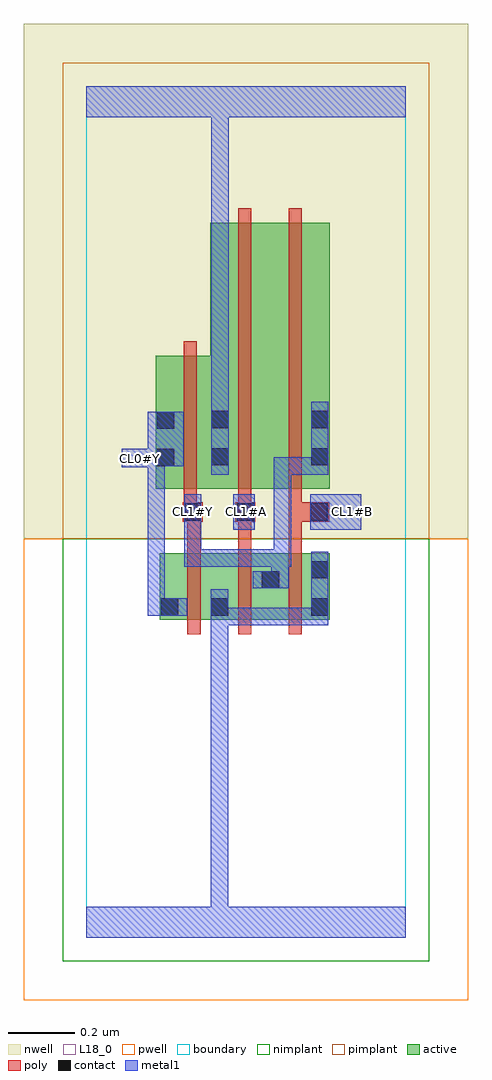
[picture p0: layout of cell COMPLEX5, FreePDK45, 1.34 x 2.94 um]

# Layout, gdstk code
import gdstk
lib = gdstk.Library(unit=1e-6, precision=1e-09)
def R(c, l, rs):  # rectangles x0, y0, x1, y1
    for r in rs: c.add(gdstk.rectangle(r[:2], r[2:], *l))
def A(c, l, x, y, w, h, nx, ny, dx, dy):  # array of equal rectangles
    R(c, l, [(x+i*dx, y+j*dy, x+i*dx+w, y+j*dy+h) for i in range(nx) for j in range(ny)])
active = (1, 0)
pwell = (2, 0)
nwell = (3, 0)
nimplant = (4, 0)
pimplant = (5, 0)
poly = (9, 0)
contact = (10, 0)
metal1 = (11, 0)
L18_0 = (18, 0)
boundary = (235, 0)

complex5 = lib.new_cell('COMPLEX5')
R(complex5, active, [(0.22,0.956,0.28,1.156), (0.22,0.956,0.43,1.156), (0.37,0.956,0.43,1.156), (0.37,0.956,0.584,1.156), (0.524,0.956,0.584,1.156), (0.524,0.956,0.732,1.156), (0.672,0.956,0.732,1.156), (0.208,1.35,0.432,1.75), (0.208,1.35,0.268,1.75), (0.372,1.35,0.552,2.15), (0.372,1.35,0.432,1.644), (0.552,1.35,0.732,2.15), (0.672,1.35,0.732,2.044)])
R(complex5, pwell, [(-0.188,-0.188,1.148,1.2)])
R(complex5, nwell, [(-0.188,1.2,1.148,2.748)])
R(complex5, nimplant, [(-0.072,-0.072,1.032,1.2)])
R(complex5, pimplant, [(-0.072,1.2,1.032,2.632)])
A(complex5, poly, 0.304, 0.912, 0.04, 0.288, 3, 1, 0.152, 0)
A(complex5, poly, 0.304, 1.16, 0.04, 0.13, 3, 1, 0.152, 0)
R(complex5, poly, [(0.29,1.25,0.35,1.31), (0.448,1.25,0.508,1.31), (0.456,1.25,0.496,1.29), (0.456,1.25,0.496,1.29), (0.608,1.25,0.73,1.31), (0.292,1.27,0.332,1.346), (0.292,1.27,0.332,1.31), (0.292,1.27,0.332,1.31), (0.456,1.27,0.496,1.346), (0.608,1.27,0.648,1.346), (0.608,1.27,0.648,1.31), (0.608,1.27,0.648,1.31), (0.292,1.306,0.332,1.794), (0.456,1.306,0.496,2.194), (0.608,1.306,0.648,2.194)])
R(complex5, contact, [(0.224,0.968,0.276,1.02), (0.374,0.968,0.426,1.02), (0.676,0.968,0.728,1.02), (0.528,1.05,0.58,1.102), (0.676,1.08,0.728,1.132), (0.294,1.254,0.346,1.306), (0.452,1.254,0.504,1.306), (0.674,1.254,0.726,1.306), (0.212,1.418,0.264,1.47), (0.376,1.42,0.428,1.472), (0.676,1.42,0.728,1.472), (0.212,1.53,0.264,1.582), (0.376,1.532,0.428,1.584), (0.676,1.532,0.728,1.584)])
R(complex5, metal1, [(0,0,0.96,0.092), (0.374,0.04,0.426,0.092), (0.374,0.04,0.426,0.092), (0.374,0.04,0.426,0.092), (0.374,0.04,0.426,0.092), (0.374,0.04,0.426,0.092), (0.374,0.04,0.426,0.092), (0.374,0.04,0.426,0.092), (0.374,0.04,0.426,0.092), (0.374,0.04,0.426,0.992), (0.374,0.94,0.426,0.992), (0.374,0.94,0.426,0.992), (0.374,0.94,0.426,0.992), (0.374,0.94,0.426,0.992), (0.374,0.94,0.426,0.992), (0.374,0.94,0.426,0.992), (0.374,0.94,0.426,0.992), (0.374,0.94,0.426,0.992), (0.374,0.94,0.616,0.992), (0.374,0.94,0.426,1.048), (0.564,0.94,0.616,0.992), (0.564,0.94,0.616,0.992), (0.564,0.94,0.616,0.992), (0.564,0.94,0.728,0.992), (0.676,0.94,0.728,0.992), (0.676,0.94,0.728,0.992), (0.676,0.94,0.728,1.16), (0.184,0.968,0.236,1.466), (0.184,0.968,0.304,1.02), (0.5,1.05,0.608,1.102), (0.556,1.05,0.608,1.168), (0.294,1.116,0.608,1.168), (0.294,1.116,0.346,1.278), (0.556,1.116,0.608,1.168), (0.556,1.116,0.608,1.168), (0.556,1.116,0.616,1.168), (0.564,1.116,0.616,1.444), (0.294,1.226,0.346,1.278), (0.294,1.226,0.346,1.334), (0.442,1.226,0.506,1.334), (0.674,1.226,0.826,1.334), (0.376,1.392,0.428,1.612), (0.564,1.392,0.616,1.444), (0.564,1.392,0.616,1.444), (0.564,1.392,0.616,1.444), (0.564,1.392,0.728,1.444), (0.676,1.392,0.728,1.444), (0.676,1.392,0.728,1.444), (0.676,1.392,0.728,1.612), (0.106,1.414,0.236,1.47), (0.184,1.418,0.236,1.47), (0.184,1.418,0.236,1.47), (0.184,1.418,0.236,1.47), (0.184,1.418,0.292,1.582), (0.376,1.56,0.428,1.612), (0.376,1.56,0.428,1.612), (0.376,1.56,0.428,2.52), (0,2.468,0.96,2.56), (0.376,2.468,0.428,2.52), (0.376,2.468,0.428,2.52), (0.376,2.468,0.428,2.52), (0.376,2.468,0.428,2.52), (0.376,2.468,0.428,2.52), (0.376,2.468,0.428,2.52)])
R(complex5, L18_0, [(0,0,0.96,0.092), (0.374,0.04,0.426,0.092), (0.374,0.04,0.426,0.092), (0.374,0.04,0.426,0.092), (0.374,0.04,0.426,0.092), (0.374,0.04,0.426,0.092), (0.374,0.04,0.426,0.092), (0.374,0.04,0.426,0.092), (0.374,0.04,0.426,0.092), (0.374,0.04,0.426,0.992), (0.374,0.94,0.426,0.992), (0.374,0.94,0.426,0.992), (0.374,0.94,0.426,0.992), (0.374,0.94,0.426,0.992), (0.374,0.94,0.426,0.992), (0.374,0.94,0.426,0.992), (0.374,0.94,0.426,0.992), (0.374,0.94,0.426,0.992), (0.374,0.94,0.426,1.048), (0.374,0.94,0.616,0.992), (0.564,0.94,0.616,0.992), (0.564,0.94,0.616,0.992), (0.564,0.94,0.616,0.992), (0.564,0.94,0.728,0.992), (0.676,0.94,0.728,0.992), (0.676,0.94,0.728,0.992), (0.676,0.94,0.728,1.16), (0.184,0.968,0.304,1.02), (0.184,0.968,0.236,1.466), (0.5,1.05,0.608,1.102), (0.556,1.05,0.608,1.168), (0.294,1.116,0.346,1.278), (0.294,1.116,0.608,1.168), (0.556,1.116,0.608,1.168), (0.556,1.116,0.608,1.168), (0.556,1.116,0.616,1.168), (0.564,1.116,0.616,1.444), (0.294,1.226,0.346,1.278), (0.294,1.226,0.346,1.334), (0.442,1.226,0.506,1.334), (0.674,1.226,0.826,1.334), (0.294,1.254,0.346,1.306), (0.454,1.254,0.506,1.306), (0.774,1.254,0.826,1.306), (0.376,1.392,0.428,1.612), (0.564,1.392,0.616,1.444), (0.564,1.392,0.616,1.444), (0.564,1.392,0.616,1.444), (0.564,1.392,0.728,1.444), (0.676,1.392,0.728,1.444), (0.676,1.392,0.728,1.444), (0.676,1.392,0.728,1.612), (0.106,1.414,0.236,1.47), (0.134,1.414,0.186,1.466), (0.184,1.418,0.236,1.47), (0.184,1.418,0.236,1.47), (0.184,1.418,0.236,1.47), (0.184,1.418,0.292,1.582), (0.376,1.56,0.428,1.612), (0.376,1.56,0.428,1.612), (0.376,1.56,0.428,2.52), (0,2.468,0.96,2.56), (0.376,2.468,0.428,2.52), (0.376,2.468,0.428,2.52), (0.376,2.468,0.428,2.52), (0.376,2.468,0.428,2.52), (0.376,2.468,0.428,2.52), (0.376,2.468,0.428,2.52)])
R(complex5, boundary, [(0,0,0.96,2.56)])
complex5.add(gdstk.Label('CL0#Y', (0.16,1.44), layer=11, texttype=0))
complex5.add(gdstk.Label('CL1#A', (0.48,1.28), layer=11, texttype=0))
complex5.add(gdstk.Label('CL1#B', (0.8,1.28), layer=11, texttype=0))
complex5.add(gdstk.Label('CL1#Y', (0.32,1.28), layer=11, texttype=0))

lib.write_gds('COMPLEX5.gds')
